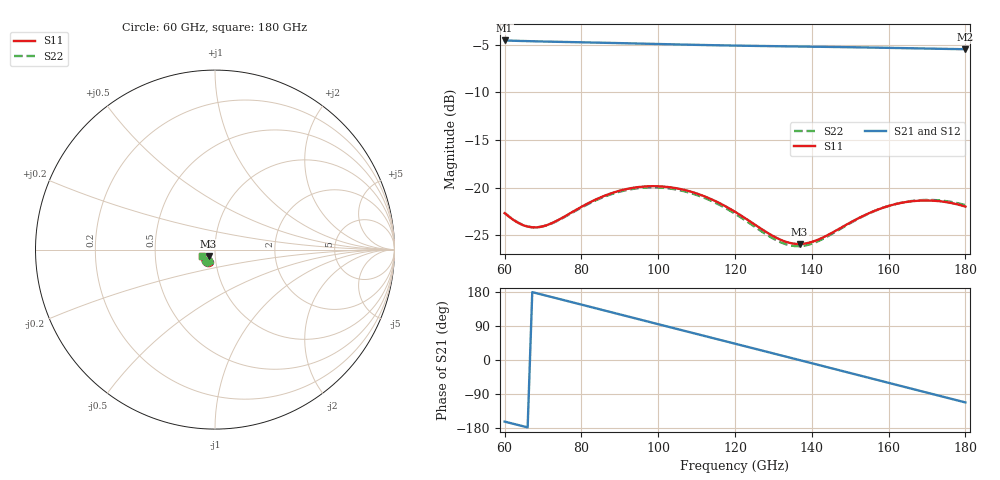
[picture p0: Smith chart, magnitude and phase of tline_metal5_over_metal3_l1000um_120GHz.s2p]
#  GHZ S DB R 50
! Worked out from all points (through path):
!   101 points, 60 GHz to 180 GHz, reference 50 ohm
!   highest |S21| = -4.56 dB at 60 GHz (marker M1); lowest = -5.5 dB at 180 GHz (marker M2)
!   group delay of S21, straight-line fit = 7.17 ps
!   lowest |S11| = -25.9 dB at 136.8 GHz (marker M3), VSWR 1.11, Z = 46.4 - j3.37 ohm
!   |S11| at or under -10 dB: start of sweep to end of sweep
!   |S22| runs from -26.1 to -20.0 dB; largest |S21 - S12| = 6.8e-14
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60  -22.66 -122.5  -4.56 -162.6  -4.56 -162.6  -22.63 -122.8
64.8  -23.92 -115.1  -4.62 -174.8  -4.62 -174.8  -23.90 -115.7
68.4  -24.15 -107.9  -4.65 176.0  -4.65 176.0  -24.15 -108.6
74.4  -23.28 -99.5  -4.71 160.6  -4.71 160.6  -23.33 -100.4
80.4  -21.91 -99.0  -4.76 145.2  -4.76 145.2  -21.99 -99.8
86.4  -20.78 -103.9  -4.81 129.7  -4.81 129.7  -20.87 -104.7
91.2  -20.18 -110.1  -4.85 117.3  -4.85 117.3  -20.29 -110.8
96  -19.88 -117.2  -4.89 104.9  -4.89 104.9  -19.99 -117.9
100.8  -19.86 -124.6  -4.94 92.5  -4.94 92.5  -19.99 -125.4
105.6  -20.12 -131.9  -4.98 80.1  -4.98 80.1  -20.26 -132.7
110.4  -20.65 -138.6  -5.02 67.7  -5.02 67.7  -20.81 -139.4
120  -22.52 -148.1  -5.10 43.1  -5.10 43.1  -22.72 -148.8
128.4  -24.70 -147.2  -5.15 21.4  -5.15 21.4  -24.96 -147.6
133.2  -25.66 -141.0  -5.17 9.1  -5.17 9.1  -25.91 -141.0
136.8  -25.89 -134.5  -5.19 -0.2  -5.19 -0.2  -26.12 -134.2
140.4  -25.63 -128.3  -5.21 -9.5  -5.21 -9.5  -25.81 -127.8
150  -23.65 -121.8  -5.27 -34.4  -5.27 -34.4  -23.71 -121.4
156  -22.47 -124.8  -5.31 -49.9  -5.31 -49.9  -22.50 -124.6
160.8  -21.81 -129.3  -5.34 -62.3  -5.34 -62.3  -21.81 -129.3
165.6  -21.43 -134.9  -5.37 -74.8  -5.37 -74.8  -21.40 -135.0
170.4  -21.33 -140.9  -5.41 -87.2  -5.41 -87.2  -21.27 -141.1
180  -21.97 -152.3  -5.48 -111.9  -5.48 -111.9  -21.82 -152.7
